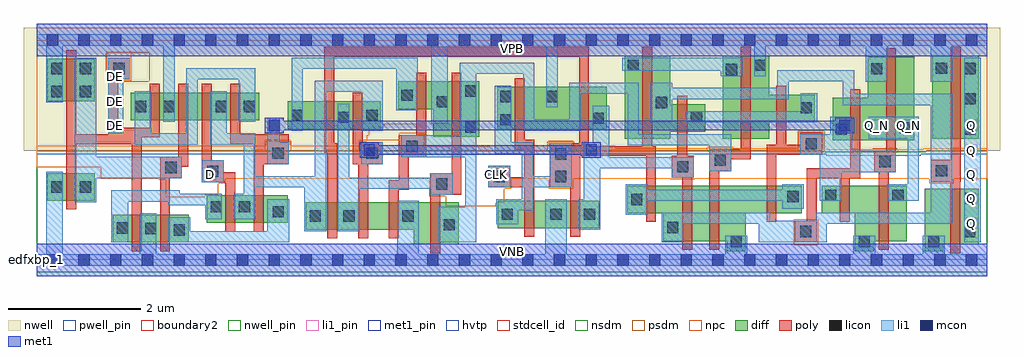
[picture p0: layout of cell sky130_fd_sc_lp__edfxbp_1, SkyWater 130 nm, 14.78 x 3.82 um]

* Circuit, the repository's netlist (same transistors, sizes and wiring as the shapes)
* Copyright 2020 The SkyWater PDK Authors
*
* Licensed under the Apache License, Version 2.0 (the "License");
* you may not use this file except in compliance with the License.
* You may obtain a copy of the License at
*
*     https://www.apache.org/licenses/LICENSE-2.0
*
* Unless required by applicable law or agreed to in writing, software
* distributed under the License is distributed on an "AS IS" BASIS,
* WITHOUT WARRANTIES OR CONDITIONS OF ANY KIND, either express or implied.
* See the License for the specific language governing permissions and
* limitations under the License.
*
* SPDX-License-Identifier: Apache-2.0

.SUBCKT sky130_fd_sc_lp__edfxbp_1 CLK D DE VGND VNB VPB VPWR Q Q_N
*.PININFO CLK:I D:I DE:I VGND:I VNB:I VPB:I VPWR:I Q:O Q_N:O
MI14 net123 M1 VPWR VPB sky130_fd_pr__pfet_01v8_hvt m=1 w=1.26U l=0.15U mult=1
+ sa=0.265 sb=0.265 sd=0.28 area=0.063 perim=1.14
MI637 clkpos clkneg VPWR VPB sky130_fd_pr__pfet_01v8_hvt m=1 w=0.64U l=0.15U mult=1
+ sa=0.265 sb=0.265 sd=0.28 area=0.063 perim=1.14
MI13 S0 clkneg net123 VPB sky130_fd_pr__pfet_01v8_hvt m=1 w=1.26U l=0.15U mult=1
+ sa=0.265 sb=0.265 sd=0.28 area=0.063 perim=1.14
MI655 net63 deneg VPWR VPB sky130_fd_pr__pfet_01v8_hvt m=1 w=0.42U l=0.15U mult=1
+ sa=0.265 sb=0.265 sd=0.28 area=0.063 perim=1.14
MI651 db clkpos M0 VPB sky130_fd_pr__pfet_01v8_hvt m=1 w=0.42U l=0.15U mult=1 sa=0.265
+ sb=0.265 sd=0.28 area=0.063 perim=1.14
MI645 Q S0 VPWR VPB sky130_fd_pr__pfet_01v8_hvt m=1 w=1.26U l=0.15U mult=1 sa=0.265
+ sb=0.265 sd=0.28 area=0.063 perim=1.14
MI658 net83 M1 VPWR VPB sky130_fd_pr__pfet_01v8_hvt m=1 w=0.42U l=0.15U mult=1
+ sa=0.265 sb=0.265 sd=0.28 area=0.063 perim=1.14
MI638 clkneg CLK VPWR VPB sky130_fd_pr__pfet_01v8_hvt m=1 w=0.64U l=0.15U mult=1
+ sa=0.265 sb=0.265 sd=0.28 area=0.063 perim=1.14
MI643 net91 S1 VPWR VPB sky130_fd_pr__pfet_01v8_hvt m=1 w=0.42U l=0.15U mult=1
+ sa=0.265 sb=0.265 sd=0.28 area=0.063 perim=1.14
MI639 M1 M0 VPWR VPB sky130_fd_pr__pfet_01v8_hvt m=1 w=0.84U l=0.15U mult=1 sa=0.265
+ sb=0.265 sd=0.28 area=0.063 perim=1.14
MI644 S0 clkpos net91 VPB sky130_fd_pr__pfet_01v8_hvt m=1 w=0.42U l=0.15U mult=1
+ sa=0.265 sb=0.265 sd=0.28 area=0.063 perim=1.14
MI660 Q_N S1 VPWR VPB sky130_fd_pr__pfet_01v8_hvt m=1 w=1.26U l=0.15U mult=1 sa=0.265
+ sb=0.265 sd=0.28 area=0.063 perim=1.14
MI659 M0 clkneg net83 VPB sky130_fd_pr__pfet_01v8_hvt m=1 w=0.42U l=0.15U mult=1
+ sa=0.265 sb=0.265 sd=0.28 area=0.063 perim=1.14
MI10 net80 DE VPWR VPB sky130_fd_pr__pfet_01v8_hvt m=1 w=0.42U l=0.15U mult=1 sa=0.265
+ sb=0.265 sd=0.28 area=0.063 perim=1.14
MI17 S1 S0 VPWR VPB sky130_fd_pr__pfet_01v8_hvt m=1 w=0.64U l=0.15U mult=1 sa=0.265
+ sb=0.265 sd=0.28 area=0.063 perim=1.14
MI9 db S1 net80 VPB sky130_fd_pr__pfet_01v8_hvt m=1 w=0.42U l=0.15U mult=1 sa=0.265
+ sb=0.265 sd=0.28 area=0.063 perim=1.14
MI4 deneg DE VPWR VPB sky130_fd_pr__pfet_01v8_hvt m=1 w=0.64U l=0.15U mult=1 sa=0.265
+ sb=0.265 sd=0.28 area=0.063 perim=1.14
MI8 db D net63 VPB sky130_fd_pr__pfet_01v8_hvt m=1 w=0.42U l=0.15U mult=1 sa=0.265
+ sb=0.265 sd=0.28 area=0.063 perim=1.14
MI634 M1 M0 VGND VNB sky130_fd_pr__nfet_01v8 m=1 w=0.64U l=0.15U mult=1 sa=0.265
+ sb=0.265 sd=0.28 area=0.063 perim=1.14
MI636 clkpos clkneg VGND VNB sky130_fd_pr__nfet_01v8 m=1 w=0.42U l=0.15U mult=1
+ sa=0.265 sb=0.265 sd=0.28 area=0.063 perim=1.14
MI635 clkneg CLK VGND VNB sky130_fd_pr__nfet_01v8 m=1 w=0.42U l=0.15U mult=1 sa=0.265
+ sb=0.265 sd=0.28 area=0.063 perim=1.14
MI661 Q_N S1 VGND VNB sky130_fd_pr__nfet_01v8 m=1 w=0.84U l=0.15U mult=1 sa=0.265
+ sb=0.265 sd=0.28 area=0.063 perim=1.14
MI641 net183 S1 VGND VNB sky130_fd_pr__nfet_01v8 m=1 w=0.42U l=0.15U mult=1 sa=0.265
+ sb=0.265 sd=0.28 area=0.063 perim=1.14
MI642 S0 clkneg net183 VNB sky130_fd_pr__nfet_01v8 m=1 w=0.42U l=0.15U mult=1 sa=0.265
+ sb=0.265 sd=0.28 area=0.063 perim=1.14
MI654 net180 DE VGND VNB sky130_fd_pr__nfet_01v8 m=1 w=0.42U l=0.15U mult=1 sa=0.265
+ sb=0.265 sd=0.28 area=0.063 perim=1.14
MI648 db clkneg M0 VNB sky130_fd_pr__nfet_01v8 m=1 w=0.42U l=0.15U mult=1 sa=0.265
+ sb=0.265 sd=0.28 area=0.063 perim=1.14
MI646 Q S0 VGND VNB sky130_fd_pr__nfet_01v8 m=1 w=0.84U l=0.15U mult=1 sa=0.265
+ sb=0.265 sd=0.28 area=0.063 perim=1.14
MI656 net168 M1 VGND VNB sky130_fd_pr__nfet_01v8 m=1 w=0.42U l=0.15U mult=1 sa=0.265
+ sb=0.265 sd=0.28 area=0.063 perim=1.14
MI657 M0 clkpos net168 VNB sky130_fd_pr__nfet_01v8 m=1 w=0.42U l=0.15U mult=1 sa=0.265
+ sb=0.265 sd=0.28 area=0.063 perim=1.14
MI18 S1 S0 VGND VNB sky130_fd_pr__nfet_01v8 m=1 w=0.42U l=0.15U mult=1 sa=0.265
+ sb=0.265 sd=0.28 area=0.063 perim=1.14
MI16 net156 M1 VGND VNB sky130_fd_pr__nfet_01v8 m=1 w=0.84U l=0.15U mult=1 sa=0.265
+ sb=0.265 sd=0.28 area=0.063 perim=1.14
MI15 S0 clkpos net156 VNB sky130_fd_pr__nfet_01v8 m=1 w=0.84U l=0.15U mult=1 sa=0.265
+ sb=0.265 sd=0.28 area=0.063 perim=1.14
MI5 deneg DE VGND VNB sky130_fd_pr__nfet_01v8 m=1 w=0.42U l=0.15U mult=1 sa=0.265
+ sb=0.265 sd=0.28 area=0.063 perim=1.14
MI7 db D net180 VNB sky130_fd_pr__nfet_01v8 m=1 w=0.42U l=0.15U mult=1 sa=0.265
+ sb=0.265 sd=0.28 area=0.063 perim=1.14
MI11 db S1 net136 VNB sky130_fd_pr__nfet_01v8 m=1 w=0.42U l=0.15U mult=1 sa=0.265
+ sb=0.265 sd=0.28 area=0.063 perim=1.14
MI12 net136 deneg VGND VNB sky130_fd_pr__nfet_01v8 m=1 w=0.42U l=0.15U mult=1 sa=0.265
+ sb=0.265 sd=0.28 area=0.063 perim=1.14
.ENDS sky130_fd_sc_lp__edfxbp_1

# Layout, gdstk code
import gdstk
lib = gdstk.Library(unit=1e-6, precision=1e-09)
def R(c, l, rs):  # rectangles x0, y0, x1, y1
    for r in rs: c.add(gdstk.rectangle(r[:2], r[2:], *l))
def A(c, l, x, y, w, h, nx, ny, dx, dy):  # array of equal rectangles
    R(c, l, [(x+i*dx, y+j*dy, x+i*dx+w, y+j*dy+h) for i in range(nx) for j in range(ny)])
def P(c, l, *ps):  # polygons
    for p in ps: c.add(gdstk.Polygon(p, *l))
nwell_pin = (64, 16)
nwell = (64, 20)
diff = (65, 20)
poly = (66, 20)
licon = (66, 44)
li1_pin = (67, 16)
li1 = (67, 20)
mcon = (67, 44)
met1_pin = (68, 16)
met1 = (68, 20)
hvtp = (78, 44)
stdcell_id = (81, 4)
nsdm = (93, 44)
psdm = (94, 20)
npc = (95, 20)
pwell_pin = (122, 16)
boundary2 = (236, 0)

sky130_fd_sc_lp__edfxbp_ = lib.new_cell('sky130_fd_sc_lp__edfxbp_1')
R(sky130_fd_sc_lp__edfxbp_, nwell_pin, [(0,3.085,14.4,3.33)])
P(sky130_fd_sc_lp__edfxbp_, nwell, [(14.59,3.52),(-0.19,3.52),(-0.19,1.655),(11.875,1.655),(11.875,1.635),(13.475,1.635),(13.475,1.655),(14.59,1.655)])
R(sky130_fd_sc_lp__edfxbp_, diff, [(1.155,0.265,2.305,0.685), (6.985,0.48,8.52,0.9), (2.575,0.56,3.805,0.98), (0.165,0.895,0.885,1.315), (13.565,1.835,14.265,3.095), (3.805,1.98,5.21,2.4), (6.975,1.98,8.635,2.62), (1.43,2.115,3.37,2.535), (0.165,2.405,0.885,3.045)])
P(sky130_fd_sc_lp__edfxbp_, diff, [(6.395,0.875),(4.075,0.875),(4.075,0.455),(5.71,0.455),(5.71,0.235),(6.395,0.235)],
  [(6.705,2.705),(5.48,2.705),(5.48,2.285),(6.01,2.285),(6.01,1.865),(6.705,1.865)],
  [(10.125,2.36),(9.595,2.36),(9.595,3.095),(8.905,3.095),(8.905,1.835),(9.595,1.835),(9.595,1.94),(10.125,1.94)],
  [(11.59,1.125),(8.945,1.125),(8.945,0.705),(9.49,0.705),(9.49,0.285),(10.45,0.285),(10.45,0.135),(10.74,0.135),(10.74,0.705),(11.59,0.705)],
  [(11.785,2.505),(11.095,2.505),(11.095,3.095),(10.395,3.095),(10.395,1.835),(11.095,1.835),(11.095,2.085),(11.785,2.085)],
  [(13.18,1.125),(11.89,1.125),(11.89,0.705),(12.39,0.705),(12.39,0.135),(12.68,0.135),(12.68,0.285),(13.18,0.285)],
  [(13.295,3.075),(12.585,3.075),(12.585,2.455),(12.055,2.455),(12.055,1.815),(13.295,1.815)],
  [(14.265,1.075),(13.45,1.075),(13.45,0.135),(13.73,0.135),(13.73,0.235),(14.265,0.235)])
P(sky130_fd_sc_lp__edfxbp_, poly, [(1.865,2.665),(1.715,2.665),(1.715,2.005),(1.235,2.005),(1.235,2.735),(1.415,2.735),(1.415,3.065),(1.085,3.065),(1.085,1.905),(0.6,1.905),(0.6,3.175),(0.45,3.175),(0.45,0.765),(0.6,0.765),(0.6,1.755),(1.44,1.755),(1.44,0.135),(1.59,0.135),(1.59,1.855),(1.865,1.855)],
  [(2.295,2.665),(2.145,2.665),(2.145,1.565),(1.87,1.565),(1.87,0.135),(2.02,0.135),(2.02,1.235),(2.2,1.235),(2.2,1.415),(2.295,1.415)],
  [(3.01,1.33),(2.835,1.33),(2.835,1.51),(2.655,1.51),(2.655,2.665),(2.505,2.665),(2.505,1.18),(2.86,1.18),(2.86,0.43),(3.01,0.43)],
  [(3.82,1.9),(3.085,1.9),(3.085,2.665),(2.935,2.665),(2.935,1.75),(3.29,1.75),(3.29,0.43),(3.44,0.43),(3.44,1.45),(3.82,1.45)],
  [(5.245,1.78),(4.94,1.78),(4.94,2.53),(4.79,2.53),(4.79,1.45),(4.87,1.45),(4.87,0.325),(5.02,0.325),(5.02,1.45),(5.245,1.45)],
  [(5.9,2.835),(5.75,2.835),(5.75,1.885),(5.485,1.885),(5.485,1.21),(5.335,1.21),(5.335,0.325),(5.485,0.325),(5.485,1.06),(5.635,1.06),(5.635,1.555),(5.9,1.555)],
  [(6.435,2.835),(6.285,2.835),(6.285,1.315),(5.96,1.315),(5.96,0.105),(6.11,0.105),(6.11,0.985),(6.435,0.985)],
  [(7.535,1.82),(7.395,1.82),(7.395,2.75),(7.245,2.75),(7.245,1.67),(7.385,1.67),(7.385,1.25),(7.17,1.25),(7.17,1.43),(6.84,1.43),(6.84,1.1),(7.385,1.1),(7.385,0.35),(7.535,0.35)],
  [(9.38,1.725),(9.325,1.725),(9.325,3.225),(9.175,3.225),(9.175,1.725),(8.365,1.725),(8.365,3.225),(4.36,3.225),(4.36,1.62),(4.4,1.62),(4.4,0.325),(4.55,0.325),(4.55,1.77),(4.51,1.77),(4.51,3.075),(8.215,3.075),(8.215,1.77),(7.775,1.77),(7.775,1.1),(8.085,1.1),(8.085,0.35),(8.235,0.35),(8.235,1.575),(9.23,1.575),(9.23,0.575),(9.38,0.575)],
  [(9.95,1.575),(9.855,1.575),(9.855,2.49),(9.705,2.49),(9.705,1.575),(9.62,1.575),(9.62,1.245),(9.78,1.245),(9.78,0.155),(9.93,0.155),(9.93,1.245),(9.95,1.245)],
  [(10.815,3.225),(10.665,3.225),(10.665,1.675),(10.19,1.675),(10.19,0.155),(10.34,0.155),(10.34,1.345),(10.52,1.345),(10.52,1.525),(10.815,1.525)],
  [(11.895,1.925),(11.565,1.925),(11.565,1.745),(11.355,1.745),(11.355,2.635),(11.205,2.635),(11.205,1.745),(11.055,1.745),(11.055,0.575),(11.205,0.575),(11.205,1.595),(11.895,1.595)],
  [(12.475,2.585),(12.325,2.585),(12.325,1.385),(11.665,1.385),(11.665,0.595),(11.485,0.595),(11.485,0.265),(11.815,0.265),(11.815,1.235),(12.165,1.235),(12.165,0.575),(12.315,0.575),(12.315,1.235),(12.475,1.235)],
  [(13.015,3.205),(12.865,3.205),(12.865,1.655),(12.685,1.655),(12.685,1.325),(12.755,1.325),(12.755,0.155),(12.905,0.155),(12.905,1.325),(13.015,1.325)],
  [(13.995,3.225),(13.845,3.225),(13.845,1.515),(13.54,1.515),(13.54,1.185),(13.84,1.185),(13.84,0.105),(13.99,0.105),(13.99,1.185),(13.995,1.185)])
A(sky130_fd_sc_lp__edfxbp_, licon, 14.05, 1.895, 0.17, 0.17, 1, 3, 0, 0.46)
R(sky130_fd_sc_lp__edfxbp_, licon, [(10.51,0.195,10.68,0.365), (12.45,0.195,12.62,0.365), (13.5,0.195,13.67,0.365), (11.565,0.345,11.735,0.515), (14.045,0.345,14.215,0.515), (2.075,0.37,2.245,0.54), (1.645,0.39,1.815,0.56), (1.215,0.4,1.385,0.57), (9.55,0.405,9.72,0.575), (6.165,0.45,6.335,0.62), (4.135,0.58,4.305,0.75), (4.645,0.58,4.815,0.75), (5.54,0.58,5.71,0.75), (7.045,0.605,7.215,0.775), (7.78,0.605,7.95,0.775), (8.29,0.605,8.46,0.775), (3.575,0.645,3.745,0.815), (2.635,0.72,2.805,0.89), (3.065,0.72,3.235,0.89), (9.005,0.83,9.175,1), (14.045,0.845,14.215,1.015), (11.37,0.875,11.54,1.045), (11.94,0.895,12.11,1.065), (12.96,0.895,13.13,1.065), (0.225,1.02,0.395,1.19), (0.655,1.02,0.825,1.19), (6.05,1.065,6.22,1.235), (6.92,1.18,7.09,1.35), (7.855,1.18,8.025,1.35), (2.585,1.26,2.755,1.43), (13.62,1.265,13.79,1.435), (1.95,1.315,2.12,1.485), (9.7,1.325,9.87,1.495), (12.765,1.405,12.935,1.575), (10.27,1.425,10.44,1.595), (7.855,1.52,8.025,1.69), (3.57,1.53,3.74,1.7), (4.995,1.53,5.165,1.7), (5.6,1.635,5.77,1.805), (11.645,1.675,11.815,1.845), (12.1,1.895,12.27,2.065), (13.07,1.915,13.24,2.085), (6.49,1.925,6.66,2.095), (7.02,2.04,7.19,2.21), (8.42,2.06,8.59,2.23), (4.565,2.075,4.735,2.245), (9.91,2.085,10.08,2.255), (3.865,2.105,4.035,2.275), (4.995,2.105,5.165,2.275), (11.57,2.22,11.74,2.39), (1.49,2.24,1.66,2.41), (1.92,2.24,2.09,2.41), (2.71,2.24,2.88,2.41), (3.14,2.24,3.31,2.41), (9.38,2.3,9.55,2.47), (6.06,2.31,6.23,2.48), (7.02,2.39,7.19,2.56), (7.72,2.39,7.89,2.56), (5.525,2.41,5.695,2.58), (0.225,2.465,0.395,2.635), (0.655,2.465,0.825,2.635), (6.49,2.475,6.66,2.645), (10.44,2.8,10.61,2.97), (12.64,2.81,12.81,2.98), (0.225,2.815,0.395,2.985), (0.655,2.815,0.825,2.985), (1.165,2.815,1.335,2.985), (13.62,2.82,13.79,2.99), (8.95,2.865,9.12,3.035), (10.87,2.865,11.04,3.035)])
A(sky130_fd_sc_lp__edfxbp_, li1_pin, 14.075, 0.47, 0.17, 0.17, 1, 5, 0, 0.37)
A(sky130_fd_sc_lp__edfxbp_, li1_pin, 1.115, 1.95, 0.17, 0.17, 1, 3, 0, 0.37)
R(sky130_fd_sc_lp__edfxbp_, li1_pin, [(2.555,1.21,2.725,1.38), (6.875,1.21,7.045,1.38), (12.635,1.95,12.805,2.12), (13.115,1.95,13.285,2.12)])
R(sky130_fd_sc_lp__edfxbp_, li1, [(6.84,1.1,7.17,1.43), (2.505,1.18,2.835,1.51), (4.915,1.45,5.245,1.78)])
P(sky130_fd_sc_lp__edfxbp_, li1, [(7.72,2.31),(7.72,3.245),(6.23,3.245),(6.23,2.065),(5.98,2.065),(5.98,3.245),(2.09,3.245),(2.09,2.095),(1.92,2.095),(1.92,3.245),(0.395,3.245),(0.395,2.385),(0.145,2.385),(0.145,3.245),(0,3.245),(0,3.415),(14.4,3.415),(14.4,3.245),(13.87,3.245),(13.87,2.695),(13.54,2.695),(13.54,3.245),(12.89,3.245),(12.89,2.695),(12.56,2.695),(12.56,3.245),(11.04,3.245),(11.04,2.785),(10.87,2.785),(10.87,3.245),(7.89,3.245),(7.89,2.31)],
  [(10.43,0.085),(10.43,0.365),(10.76,0.365),(10.76,0.085),(12.37,0.085),(12.37,0.365),(12.7,0.365),(12.7,0.085),(13.42,0.085),(13.42,0.365),(13.75,0.365),(13.75,0.085),(14.4,0.085),(14.4,-0.085),(0,-0.085),(0,0.085),(0.145,0.085),(0.145,1.335),(0.395,1.335),(0.395,0.085),(1.565,0.085),(1.565,0.705),(1.815,0.705),(1.815,0.085),(5.46,0.085),(5.46,0.895),(5.79,0.895),(5.79,0.085),(7.7,0.085),(7.7,0.92),(8.03,0.92),(8.03,0.085)],
  [(14.05,2.15),(14.05,3.065),(14.3,3.065),(14.3,0.265),(14.045,0.265),(14.045,2.15)],
  [(1.085,3.065),(1.415,3.065),(1.415,2.735),(1.31,2.735),(1.31,1.92),(1.085,1.92)],
  [(12.605,1.835),(12.605,2.165),(13.36,2.165),(13.36,0.895),(12.88,0.895),(12.88,1.145),(13.19,1.145),(13.19,1.835)],
  [(11.86,1.595),(11.565,1.595),(11.565,1.905),(12.02,1.905),(12.02,2.165),(12.355,2.165),(12.355,1.655),(13.01,1.655),(13.01,1.325),(12.19,1.325),(12.19,0.895),(11.86,0.895)],
  [(1.49,1.745),(1.49,2.555),(1.74,2.555),(1.74,1.915),(2.27,1.915),(2.27,2.905),(3.31,2.905),(3.31,2.095),(3.06,2.095),(3.06,2.735),(2.44,2.735),(2.44,1.745)],
  [(4.055,0.435),(4.055,1.1),(3.315,1.1),(3.315,0.615),(2.985,0.615),(2.985,1),(3.14,1),(3.14,1.745),(2.63,1.745),(2.63,2.555),(2.88,2.555),(2.88,1.915),(3.31,1.915),(3.31,1.27),(4.215,1.27),(4.215,2.715),(5.245,2.715),(5.245,1.96),(4.915,1.96),(4.915,2.545),(4.385,2.545),(4.385,0.435)],
  [(11.8,0.595),(11.8,0.715),(13.54,0.715),(13.54,2.345),(12.21,2.345),(12.21,2.705),(11.39,2.705),(11.39,2.435),(9.63,2.435),(9.63,2.085),(9.3,2.085),(9.3,2.685),(9.63,2.685),(9.63,2.605),(11.22,2.605),(11.22,2.875),(12.38,2.875),(12.38,2.515),(13.865,2.515),(13.865,0.545),(11.97,0.545),(11.97,0.265),(10.94,0.265),(10.94,0.545),(9.8,0.545),(9.8,0.265),(9.47,0.265),(9.47,0.715),(11.11,0.715),(11.11,0.595)],
  [(3.865,3.065),(5.775,3.065),(5.775,2.265),(5.445,2.265),(5.445,2.895),(4.035,2.895),(4.035,1.96),(3.865,1.96)],
  [(8.285,1.78),(8.42,1.78),(8.42,2.335),(8.67,2.335),(8.67,1.555),(9.95,1.555),(9.95,1.245),(9.62,1.245),(9.62,1.385),(8.54,1.385),(8.54,0.46),(8.21,0.46),(8.21,0.92),(8.285,0.92)],
  [(8.95,2.515),(8.24,2.515),(8.24,1.96),(7.37,1.96),(7.37,2.82),(6.66,2.82),(6.66,0.265),(6.085,0.265),(6.085,0.805),(6.49,0.805),(6.49,1.555),(5.52,1.555),(5.52,1.885),(6.41,1.885),(6.41,2.99),(7.54,2.99),(7.54,2.13),(8.07,2.13),(8.07,2.685),(9.12,2.685),(9.12,1.905),(10.52,1.905),(10.52,1.345),(10.19,1.345),(10.19,1.735),(8.95,1.735)],
  [(6.94,1.61),(6.94,2.64),(7.19,2.64),(7.19,1.78),(7.52,1.78),(7.52,1.27),(7.775,1.27),(7.775,1.77),(8.105,1.77),(8.105,1.1),(7.52,1.1),(7.52,0.75),(7.295,0.75),(7.295,0.54),(6.965,0.54),(6.965,0.92),(7.35,0.92),(7.35,1.61)],
  [(0.905,1.565),(2.2,1.565),(2.2,1.235),(0.905,1.235),(0.905,0.875),(0.575,0.875),(0.575,3.065),(0.905,3.065)],
  [(4.735,1.245),(5.97,1.245),(5.97,1.315),(6.3,1.315),(6.3,0.985),(5.97,0.985),(5.97,1.075),(4.895,1.075),(4.895,0.435),(4.565,0.435),(4.565,2.365),(4.735,2.365)],
  [(3.49,1.45),(3.49,2.15),(3.685,2.15),(3.685,1.78),(3.82,1.78),(3.82,1.45)],
  [(1.995,0.83),(1.995,0.885),(1.385,0.885),(1.385,0.265),(1.135,0.265),(1.135,1.055),(2.165,1.055),(2.165,1),(2.805,1),(2.805,0.615),(2.555,0.615),(2.555,0.83)],
  [(10.36,2.785),(10.36,2.865),(8.87,2.865),(8.87,3.065),(10.69,3.065),(10.69,2.785)],
  [(8.925,0.685),(8.925,1.145),(9.255,1.145),(9.255,1.065),(11.29,1.065),(11.29,1.145),(11.62,1.145),(11.62,0.775),(11.29,0.775),(11.29,0.895),(9.255,0.895),(9.255,0.685)],
  [(3.495,0.435),(3.495,0.92),(3.825,0.92),(3.825,0.265),(1.995,0.265),(1.995,0.65),(2.325,0.65),(2.325,0.435)],
  [(11.57,2.255),(11.57,2.525),(11.82,2.525),(11.82,2.085),(9.83,2.085),(9.83,2.255)])
A(sky130_fd_sc_lp__edfxbp_, mcon, 0.155, -0.085, 0.17, 0.17, 30, 2, 0.48, 3.33)
R(sky130_fd_sc_lp__edfxbp_, mcon, [(4.955,1.58,5.125,1.75), (8.315,1.58,8.485,1.75), (3.515,1.95,3.685,2.12), (12.155,1.95,12.325,2.12)])
R(sky130_fd_sc_lp__edfxbp_, met1_pin, [(0,0,14.4,0.245), (0,3.085,14.4,3.33)])
R(sky130_fd_sc_lp__edfxbp_, met1, [(0,-0.245,14.4,0.245), (0,3.085,14.4,3.575)])
P(sky130_fd_sc_lp__edfxbp_, met1, [(5.185,1.735),(8.255,1.735),(8.255,1.78),(8.545,1.78),(8.545,1.55),(8.255,1.55),(8.255,1.595),(5.185,1.595),(5.185,1.55),(4.895,1.55),(4.895,1.78),(5.185,1.78)],
  [(3.745,2.105),(12.095,2.105),(12.095,2.15),(12.385,2.15),(12.385,1.92),(12.095,1.92),(12.095,1.965),(3.745,1.965),(3.745,1.92),(3.455,1.92),(3.455,2.15),(3.745,2.15)])
P(sky130_fd_sc_lp__edfxbp_, hvtp, [(14.4,3.33),(0,3.33),(0,1.6),(11.96,1.6),(11.96,1.58),(13.39,1.58),(13.39,1.6),(14.4,1.6)])
R(sky130_fd_sc_lp__edfxbp_, stdcell_id, [(0,0,14.4,3.33)])
P(sky130_fd_sc_lp__edfxbp_, nsdm, [(14.4,1.655),(13.475,1.655),(13.475,1.635),(11.875,1.635),(11.875,1.655),(0,1.655),(0,-0.19),(14.4,-0.19)])
P(sky130_fd_sc_lp__edfxbp_, psdm, [(14.4,3.52),(1.705,3.52),(1.705,2.705),(1.055,2.705),(1.055,3.14),(1.705,3.14),(1.705,3.52),(0,3.52),(0,1.655),(3.46,1.655),(3.46,1.81),(3.85,1.81),(3.85,1.655),(4.885,1.655),(4.885,1.81),(5.49,1.81),(5.49,1.915),(5.88,1.915),(5.88,1.655),(7.745,1.655),(7.745,1.8),(8.135,1.8),(8.135,1.655),(10.16,1.655),(10.16,1.705),(10.55,1.705),(10.55,1.655),(11.535,1.655),(11.535,1.955),(11.925,1.955),(11.925,1.635),(12.655,1.635),(12.655,1.685),(13.045,1.685),(13.045,1.635),(13.475,1.635),(13.475,1.655),(14.4,1.655)])
R(sky130_fd_sc_lp__edfxbp_, npc, [(11.465,0.225,11.835,0.615), (1.065,2.715,1.435,3.155)])
P(sky130_fd_sc_lp__edfxbp_, npc, [(14.4,1.695),(13.435,1.695),(13.435,1.675),(11.915,1.675),(11.915,1.945),(11.545,1.945),(11.545,1.695),(8.765,1.695),(8.765,1.73),(8.125,1.73),(8.125,1.79),(7.755,1.79),(7.755,1.73),(6.845,1.73),(6.845,1.725),(5.87,1.725),(5.87,1.905),(5.765,1.905),(5.765,2.065),(5.255,2.065),(5.255,2.015),(5.03,2.015),(5.03,1.89),(5,1.89),(5,1.8),(4.895,1.8),(4.895,1.73),(3.84,1.73),(3.84,1.8),(3.47,1.8),(3.47,1.73),(0,1.73),(0,1.405),(0.975,1.405),(0.975,1.23),(1.85,1.23),(1.85,1.215),(1.955,1.215),(1.955,0.95),(2.545,0.95),(2.545,0.98),(2.75,0.98),(2.75,1.16),(2.855,1.16),(2.855,1.23),(5.95,1.23),(5.95,0.965),(6.2,0.965),(6.2,0.815),(6.955,0.815),(6.955,0.865),(7.085,0.865),(7.085,1.08),(7.19,1.08),(7.19,1.23),(7.755,1.23),(7.755,1.08),(8.125,1.08),(8.125,1.23),(9.6,1.23),(9.6,1.225),(9.97,1.225),(9.97,1.23),(13.52,1.23),(13.52,1.165),(13.89,1.165),(13.89,1.23),(14.4,1.23)])
R(sky130_fd_sc_lp__edfxbp_, pwell_pin, [(0,0,14.4,0.245)])
R(sky130_fd_sc_lp__edfxbp_, boundary2, [(0,0,14.4,3.33)])
sky130_fd_sc_lp__edfxbp_.add(gdstk.Label('VNB', (7.2,0.123), layer=64, texttype=59))
sky130_fd_sc_lp__edfxbp_.add(gdstk.Label('VPB', (7.2,3.208), layer=64, texttype=5))
sky130_fd_sc_lp__edfxbp_.add(gdstk.Label('edfxbp_1', (0,0), layer=83, texttype=44))
sky130_fd_sc_lp__edfxbp_.add(gdstk.Label('VPWR', (7.2,3.208), layer=68, texttype=5))
sky130_fd_sc_lp__edfxbp_.add(gdstk.Label('VGND', (7.2,0.123), layer=68, texttype=5))
sky130_fd_sc_lp__edfxbp_.add(gdstk.Label('D', (2.64,1.295), layer=67, texttype=5))
sky130_fd_sc_lp__edfxbp_.add(gdstk.Label('Q', (14.16,0.555), layer=67, texttype=5))
sky130_fd_sc_lp__edfxbp_.add(gdstk.Label('Q', (14.16,0.925), layer=67, texttype=5))
sky130_fd_sc_lp__edfxbp_.add(gdstk.Label('Q', (14.16,1.295), layer=67, texttype=5))
sky130_fd_sc_lp__edfxbp_.add(gdstk.Label('Q', (14.16,1.665), layer=67, texttype=5))
sky130_fd_sc_lp__edfxbp_.add(gdstk.Label('Q', (14.16,2.035), layer=67, texttype=5))
sky130_fd_sc_lp__edfxbp_.add(gdstk.Label('DE', (1.2,2.035), layer=67, texttype=5))
sky130_fd_sc_lp__edfxbp_.add(gdstk.Label('DE', (1.2,2.405), layer=67, texttype=5))
sky130_fd_sc_lp__edfxbp_.add(gdstk.Label('DE', (1.2,2.775), layer=67, texttype=5))
sky130_fd_sc_lp__edfxbp_.add(gdstk.Label('Q_N', (12.72,2.035), layer=67, texttype=5))
sky130_fd_sc_lp__edfxbp_.add(gdstk.Label('Q_N', (13.2,2.035), layer=67, texttype=5))
sky130_fd_sc_lp__edfxbp_.add(gdstk.Label('CLK', (6.96,1.295), layer=67, texttype=5))

lib.write_gds('sky130_fd_sc_lp__edfxbp_1.gds')
